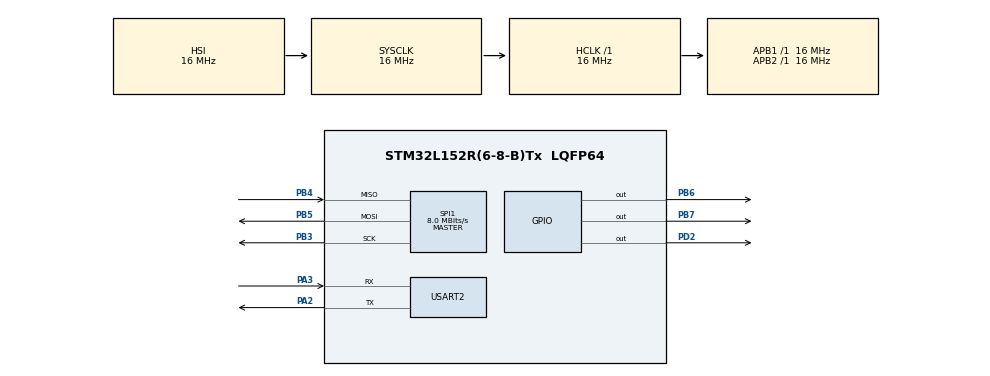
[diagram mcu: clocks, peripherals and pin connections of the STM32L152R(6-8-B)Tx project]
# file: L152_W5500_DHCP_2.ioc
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Mcu.Family=STM32L1
Mcu.Name=STM32L152R(6-8-B)Tx
Mcu.Package=LQFP64
NVIC.PriorityGroup=NVIC_PRIORITYGROUP_4
NVIC.SPI1_IRQn=true\:0\:0\:false\:false\:true\:true\:true
NVIC.USART2_IRQn=true\:0\:0\:false\:false\:true\:true\:true
PA2.Mode=Asynchronous
PA2.Signal=USART2_TX
PA3.Mode=Asynchronous
PA3.Signal=USART2_RX
PB3.Mode=Full_Duplex_Master
PB3.Signal=SPI1_SCK
PB4.Mode=Full_Duplex_Master
PB4.Signal=SPI1_MISO
PB5.Mode=Full_Duplex_Master
PB5.Signal=SPI1_MOSI
PB6.Signal=GPIO_Output
PB7.Signal=GPIO_Output
PD2.GPIO_Speed=GPIO_SPEED_FREQ_VERY_HIGH
PD2.PinState=GPIO_PIN_SET
PD2.Signal=GPIO_Output
ProjectManager.HeapSize=0x200
ProjectManager.StackSize=0x400
ProjectManager.TargetToolchain=STM32CubeIDE
RCC.AHBFreq_Value=16000000
RCC.APB1Freq_Value=16000000
RCC.APB1TimFreq_Value=16000000
RCC.APB2Freq_Value=16000000
RCC.APB2TimFreq_Value=16000000
RCC.HCLKFreq_Value=16000000
RCC.HSE_VALUE=24000000
RCC.HSI_VALUE=16000000
RCC.LSE_VALUE=32768
RCC.MSI_VALUE=2097000
RCC.SYSCLKFreq_VALUE=16000000
RCC.SYSCLKSource=RCC_SYSCLKSOURCE_HSI
RCC.VCOOutputFreq_Value=48000000
SPI1.CalculateBaudRate=8.0 MBits/s
SPI1.Direction=SPI_DIRECTION_2LINES
SPI1.Mode=SPI_MODE_MASTER
SPI1.VirtualType=VM_MASTER
USART2.VirtualMode=VM_ASYNC
board=custom

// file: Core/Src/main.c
/* USER CODE BEGIN Header */
/**
  ******************************************************************************
  * @file           : main.c
  * @brief          : Main program body
  ******************************************************************************
  * @attention
  *
  * <h2><center>&copy; Copyright (c) 2020 STMicroelectronics.
  * All rights reserved.</center></h2>
  *
  * This software component is licensed by ST under BSD 3-Clause license,
  * the "License"; You may not use this file except in compliance with the
  * License. You may obtain a copy of the License at:
  *                        opensource.org/licenses/BSD-3-Clause
  *
  ******************************************************************************
  */
/* USER CODE END Header */
#include "main.h"
#include <stdio.h>
#include <stdbool.h>

#include "w5500.h"
#include "wizchip_conf.h"
#include "W5500HardwareDriver.h"

/* USER CODE BEGIN Includes */

#define HAL_TIMEOUT_VALUE 0xFFFFFFFF
#define countof(a) (sizeof(a) / sizeof(*(a)))
#define spi_enable  	HAL_GPIO_WritePin(GPIOD, GPIO_PIN_2, GPIO_PIN_RESET);
#define spi_disable 	HAL_GPIO_WritePin(GPIOD, GPIO_PIN_2, GPIO_PIN_SET);

uint8_t send_data = 32;
uint8_t UART1_TxBuffer[] = "I'm UART1\r\n";

extern uint32_t ui32_len_buffer_control;
extern char buffer_control[LEN_BUFFER_CONTROL];
extern uint32_t is_process_data;

uint8_t targetIP[4] = IP_SERVER;
int32_t rc = 0;
uint32_t dhcp_ret = DHCP_STOPPED;
uint8_t buf[100];
char SubString[] = "/#";
uint32_t ui32_len_message = 0;
char message[16] = {0};

uint8_t tempBuffer[BUFFER_SIZE];
uint32_t dhcp_counter;
uint8_t mqtt_push_counter;
uint8_t mqtt_flag;
uint16_t mes_id;

wiz_NetInfo gWIZNETINFO =
{
  .mac = {ETHADDR0, ETHADDR1, ETHADDR2, ETHADDR3, ETHADDR4, ETHADDR5},
  .ip = {IPADDR0, IPADDR1, IPADDR2, IPADDR3},
  .sn = {NETMASK0, NETMASK1, NETMASK2, NETMASK3},
  .gw = {DRIPADDR0, DRIPADDR1, DRIPADDR2, DRIPADDR3},
  .dns = {DRIPADDR0, DRIPADDR1, DRIPADDR2, DRIPADDR3},
  .dhcp = NETINFO_DHCP  // NETINFO_STATIC
};

SPI_HandleTypeDef hspi1;

UART_HandleTypeDef huart2;

void SystemClock_Config(void);
static void MX_GPIO_Init(void);
static void MX_SPI1_Init(void);
static void MX_USART2_UART_Init(void);
/* USER CODE BEGIN PFP */

void print_network_information(void)
{
  wizchip_getnetinfo(&gWIZNETINFO);
  printf("Mac address: %02x:%02x:%02x:%02x:%02x:%02x\n\r", gWIZNETINFO.mac[0], gWIZNETINFO.mac[1], gWIZNETINFO.mac[2], gWIZNETINFO.mac[3], gWIZNETINFO.mac[4], gWIZNETINFO.mac[5]);
  if (gWIZNETINFO.dhcp == NETINFO_DHCP)
    printf("DHCP\n\r");
  else
    printf("Static IP\n\r");
  printf("IP address : %d.%d.%d.%d\n\r", gWIZNETINFO.ip[0], gWIZNETINFO.ip[1], gWIZNETINFO.ip[2], gWIZNETINFO.ip[3]);
  printf("SM Mask    : %d.%d.%d.%d\n\r", gWIZNETINFO.sn[0], gWIZNETINFO.sn[1], gWIZNETINFO.sn[2], gWIZNETINFO.sn[3]);
  printf("Gate way   : %d.%d.%d.%d\n\r", gWIZNETINFO.gw[0], gWIZNETINFO.gw[1], gWIZNETINFO.gw[2], gWIZNETINFO.gw[3]);
  printf("DNS Server : %d.%d.%d.%d\n\r", gWIZNETINFO.dns[0], gWIZNETINFO.dns[1], gWIZNETINFO.dns[2], gWIZNETINFO.dns[3]);
}

void messageArrived(MessageData* md)
{
  uint32_t i=0;
  MQTTMessage* message = md->message;
  char* data;
  for (i = 0; i < md->topicName->lenstring.len; i++)
  {
    putchar(*(md->topicName->lenstring.data + i));
  }
  if(ui32_len_buffer_control>LEN_BUFFER_CONTROL)
  {
    ui32_len_buffer_control = LEN_BUFFER_CONTROL;
  }
  else
  {
    ui32_len_buffer_control = (int32_t)message->payloadlen;
  }
  data = (char*)message->payload;
  free_buffer(buffer_control,LEN_BUFFER_CONTROL);
  memcpy(buffer_control,data,ui32_len_buffer_control);
  printf(" Message: %s\r\n", buffer_control);
  is_process_data = true;
}

uint8_t DHCP_proc(void)
{
  uint8_t dhcp_res = DHCP_run();
  switch (dhcp_res)
  {
  case DHCP_IP_ASSIGN:
  case DHCP_IP_CHANGED:
  case DHCP_IP_LEASED:
    getIPfromDHCP(gWIZNETINFO.ip);
    getGWfromDHCP(gWIZNETINFO.gw);
    getSNfromDHCP(gWIZNETINFO.sn);
    getDNSfromDHCP(gWIZNETINFO.dns);
    gWIZNETINFO.dhcp = NETINFO_DHCP;
    ctlnetwork(CN_SET_NETINFO, (void*)&gWIZNETINFO);
    // For debug
    // printf("\r\n>> DHCP IP Leased Time : %ld Sec\r\n", getDHCPLeasetime());
    break;
  case DHCP_FAILED:
    printf(">> DHCP Failed\r\n");
    gWIZNETINFO.dhcp = NETINFO_STATIC;
    break;
  }
  return dhcp_res;
}

/* USER CODE END PFP */

int main(void)
{

  /* MCU Configuration--------------------------------------------------------*/

  /* Reset of all peripherals, Initializes the Flash interface and the Systick. */
  HAL_Init();

  /* Configure the system clock */
  SystemClock_Config();

  /* Initialize all configured peripherals */
  MX_GPIO_Init();
  MX_SPI1_Init();
  MX_USART2_UART_Init();

  /* Infinite loop */
  while (1)
  {
	  spi_enable;
	  HAL_SPI_Transmit_IT(&hspi1, &send_data, 1);
	  spi_disable;
	  send_data++;
	  HAL_UART_Transmit_IT(&huart2, (uint8_t*)&UART1_TxBuffer, countof(UART1_TxBuffer)-1);
	  HAL_Delay(1000);
  }
}

void HAL_SPI_TxCpltCallback(SPI_HandleTypeDef *hspi)
{
	if(hspi->Instance == hspi1.Instance)
	{
		HAL_GPIO_TogglePin(GPIOB, GPIO_PIN_7);
	}
}

void HAL_UART_TxCpltCallback(UART_HandleTypeDef *huart)
{
	if(huart->Instance == huart2.Instance)
	{
		HAL_GPIO_TogglePin(GPIOB, GPIO_PIN_6);
	}
}

void SystemClock_Config(void)
{
  RCC_OscInitTypeDef RCC_OscInitStruct = {0};
  RCC_ClkInitTypeDef RCC_ClkInitStruct = {0};

  /** Configure the main internal regulator output voltage
  */
  __HAL_PWR_VOLTAGESCALING_CONFIG(PWR_REGULATOR_VOLTAGE_SCALE1);
  /** Initializes the RCC Oscillators according to the specified parameters
  * in the RCC_OscInitTypeDef structure.
  */
  RCC_OscInitStruct.OscillatorType = RCC_OSCILLATORTYPE_HSI;
  RCC_OscInitStruct.HSIState = RCC_HSI_ON;
  RCC_OscInitStruct.HSICalibrationValue = RCC_HSICALIBRATION_DEFAULT;
  RCC_OscInitStruct.PLL.PLLState = RCC_PLL_NONE;
  if (HAL_RCC_OscConfig(&RCC_OscInitStruct) != HAL_OK)
  {
    Error_Handler();
  }
  /** Initializes the CPU, AHB and APB buses clocks
  */
  RCC_ClkInitStruct.ClockType = RCC_CLOCKTYPE_HCLK|RCC_CLOCKTYPE_SYSCLK
                              |RCC_CLOCKTYPE_PCLK1|RCC_CLOCKTYPE_PCLK2;
  RCC_ClkInitStruct.SYSCLKSource = RCC_SYSCLKSOURCE_HSI;
  RCC_ClkInitStruct.AHBCLKDivider = RCC_SYSCLK_DIV1;
  RCC_ClkInitStruct.APB1CLKDivider = RCC_HCLK_DIV1;
  RCC_ClkInitStruct.APB2CLKDivider = RCC_HCLK_DIV1;

  if (HAL_RCC_ClockConfig(&RCC_ClkInitStruct, FLASH_LATENCY_0) != HAL_OK)
  {
    Error_Handler();
  }
}

static void MX_SPI1_Init(void)
{

  /* SPI1 parameter configuration*/
  hspi1.Instance = SPI1;
  hspi1.Init.Mode = SPI_MODE_MASTER;
  hspi1.Init.Direction = SPI_DIRECTION_2LINES;
  hspi1.Init.DataSize = SPI_DATASIZE_8BIT;
  hspi1.Init.CLKPolarity = SPI_POLARITY_LOW;
  hspi1.Init.CLKPhase = SPI_PHASE_1EDGE;
  hspi1.Init.NSS = SPI_NSS_SOFT;
  hspi1.Init.BaudRatePrescaler = SPI_BAUDRATEPRESCALER_2;
  hspi1.Init.FirstBit = SPI_FIRSTBIT_MSB;
  hspi1.Init.TIMode = SPI_TIMODE_DISABLE;
  hspi1.Init.CRCCalculation = SPI_CRCCALCULATION_DISABLE;
  hspi1.Init.CRCPolynomial = 10;
  if (HAL_SPI_Init(&hspi1) != HAL_OK)
  {
    Error_Handler();
  }

}

static void MX_USART2_UART_Init(void)
{

  huart2.Instance = USART2;
  huart2.Init.BaudRate = 115200;
  huart2.Init.WordLength = UART_WORDLENGTH_8B;
  huart2.Init.StopBits = UART_STOPBITS_1;
  huart2.Init.Parity = UART_PARITY_NONE;
  huart2.Init.Mode = UART_MODE_TX_RX;
  huart2.Init.HwFlowCtl = UART_HWCONTROL_NONE;
  huart2.Init.OverSampling = UART_OVERSAMPLING_16;
  if (HAL_UART_Init(&huart2) != HAL_OK)
  {
    Error_Handler();
  }

}

static void MX_GPIO_Init(void)
{
  GPIO_InitTypeDef GPIO_InitStruct = {0};

  /* GPIO Ports Clock Enable */
  __HAL_RCC_GPIOA_CLK_ENABLE();
  __HAL_RCC_GPIOD_CLK_ENABLE();
  __HAL_RCC_GPIOB_CLK_ENABLE();

  /*Configure GPIO pin Output Level */
  HAL_GPIO_WritePin(GPIOD, GPIO_PIN_2, GPIO_PIN_SET);

  /*Configure GPIO pin Output Level */
  HAL_GPIO_WritePin(GPIOB, GPIO_PIN_6|GPIO_PIN_7, GPIO_PIN_RESET);

  /*Configure GPIO pin : PD2 */
  GPIO_InitStruct.Pin = GPIO_PIN_2;
  GPIO_InitStruct.Mode = GPIO_MODE_OUTPUT_PP;
  GPIO_InitStruct.Pull = GPIO_NOPULL;
  GPIO_InitStruct.Speed = GPIO_SPEED_FREQ_VERY_HIGH;
  HAL_GPIO_Init(GPIOD, &GPIO_InitStruct);

  /*Configure GPIO pins : PB6 PB7 */
  GPIO_InitStruct.Pin = GPIO_PIN_6|GPIO_PIN_7;
  GPIO_InitStruct.Mode = GPIO_MODE_OUTPUT_PP;
  GPIO_InitStruct.Pull = GPIO_NOPULL;
  GPIO_InitStruct.Speed = GPIO_SPEED_FREQ_LOW;
  HAL_GPIO_Init(GPIOB, &GPIO_InitStruct);

}

void Error_Handler(void)
{
}

/************************ (C) COPYRIGHT STMicroelectronics *****END OF FILE****/
